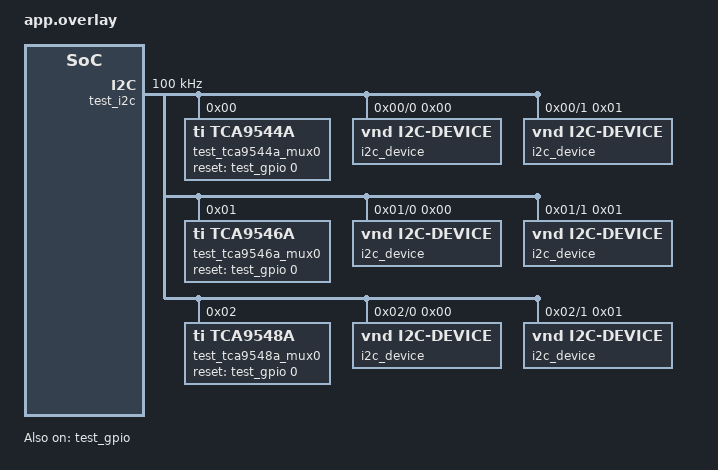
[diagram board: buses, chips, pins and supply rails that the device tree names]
/*
 * Copyright © 2024 TOKITA Hiroshi
 *
 * SPDX-License-Identifier: Apache-2.0
 */

 #include <zephyr/dt-bindings/i2c/i2c.h>

/ {
	test_gpio: gpio@deadbeef {
		compatible = "vnd,gpio";
		gpio-controller;
		reg = <0xdeadbeef 0x1000>;
		#gpio-cells = <0x2>;
		status = "okay";
	};

	test_i2c: i2c@11223344 {
		#address-cells = <1>;
		#size-cells = <0>;
		compatible = "vnd,i2c";
		reg = <0x11223344 0x10000>;
		status = "okay";
		clock-frequency = <100000>;

		test_tca9544a_mux0: tca9544a@0 {
			compatible = "ti,tca9544a";
			reg = <0x0>;
			status = "okay";
			#address-cells = <1>;
			#size-cells = <0>;
			reset-gpios = <&test_gpio 0 0>;

			mux_i2c@0 {
				compatible = "ti,tca9544a-channel";
				reg = <0>;
				#address-cells = <1>;
				#size-cells = <0>;

				i2c_device@0 {
					compatible = "vnd,i2c-device";
					reg = <0x0>;
				};
			};

			mux_i2c@1 {
				compatible = "ti,tca9544a-channel";
				reg = <1>;
				#address-cells = <1>;
				#size-cells = <0>;

				i2c_device@1 {
					compatible = "vnd,i2c-device";
					reg = <0x1>;
				};
			};
		};

		test_tca9546a_mux0: tca9546a@1 {
			compatible = "ti,tca9546a";
			reg = <0x1>;
			status = "okay";
			#address-cells = <1>;
			#size-cells = <0>;
			reset-gpios = <&test_gpio 0 0>;

			mux_i2c@0 {
				compatible = "ti,tca9546a-channel";
				reg = <0>;
				#address-cells = <1>;
				#size-cells = <0>;

				i2c_device@0 {
					compatible = "vnd,i2c-device";
					reg = <0x0>;
				};
			};

			mux_i2c@1 {
				compatible = "ti,tca9546a-channel";
				reg = <1>;
				#address-cells = <1>;
				#size-cells = <0>;

				i2c_device@1 {
					compatible = "vnd,i2c-device";
					reg = <0x1>;
				};
			};
		};

		test_tca9548a_mux0: tca9548a@2 {
			compatible = "ti,tca9548a";
			reg = <0x2>;
			status = "okay";
			#address-cells = <1>;
			#size-cells = <0>;
			reset-gpios = <&test_gpio 0 0>;

			mux_i2c@0 {
				compatible = "ti,tca9548a-channel";
				reg = <0>;
				#address-cells = <1>;
				#size-cells = <0>;

				i2c_device@0 {
					compatible = "vnd,i2c-device";
					reg = <0x0>;
				};
			};

			mux_i2c@1 {
				compatible = "ti,tca9548a-channel";
				reg = <1>;
				#address-cells = <1>;
				#size-cells = <0>;

				i2c_device@1 {
					compatible = "vnd,i2c-device";
					reg = <0x1>;
				};
			};
		};
	};
};
